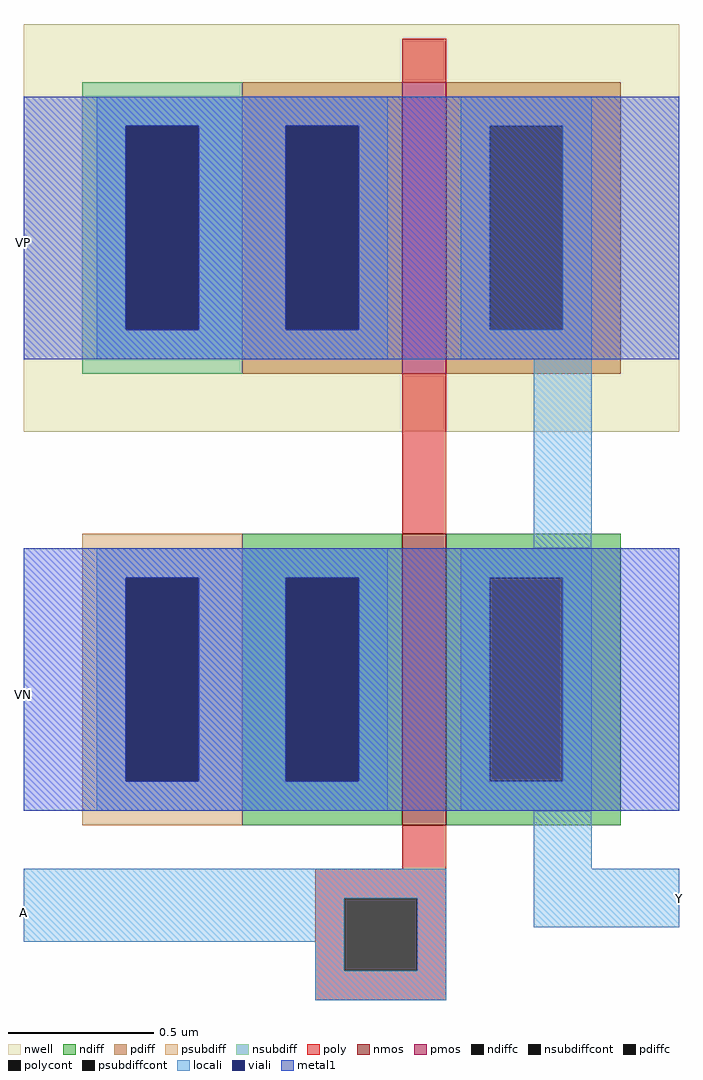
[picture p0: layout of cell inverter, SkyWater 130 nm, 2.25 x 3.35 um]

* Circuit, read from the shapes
.subckt inverter A Y VP VN
XM1 Y A VN VN sky130_fd_pr__nfet_01v8 w=1 l=0.15
XM2 Y A VP VP sky130_fd_pr__pfet_01v8 w=1 l=0.15
.ends

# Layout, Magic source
magic
tech sky130A
<< nwell >>
rect -130 135 95 275
<< nmos >>
rect 0 0 15 100
<< pmos >>
rect 0 155 15 255
<< ndiff >>
rect -55 85 0 100
rect -55 15 -40 85
rect -15 15 0 85
rect -55 0 0 15
rect 15 85 75 100
rect 15 15 30 85
rect 55 15 75 85
rect 15 0 75 15
<< pdiff >>
rect -55 240 0 255
rect -55 170 -40 240
rect -15 170 0 240
rect -55 155 0 170
rect 15 240 75 255
rect 15 170 30 240
rect 55 170 75 240
rect 15 155 75 170
<< ndiffc >>
rect -40 15 -15 85
rect 30 15 55 85
<< pdiffc >>
rect -40 170 -15 240
rect 30 170 55 240
<< psubdiff >>
rect -110 85 -55 100
rect -110 15 -95 85
rect -70 15 -55 85
rect -110 0 -55 15
<< nsubdiff >>
rect -110 240 -55 255
rect -110 170 -95 240
rect -70 170 -55 240
rect -110 155 -55 170
<< psubdiffcont >>
rect -95 15 -70 85
<< nsubdiffcont >>
rect -95 170 -70 240
<< poly >>
rect 0 255 15 270
rect 0 100 15 155
rect 0 -15 15 0
rect -30 -25 15 -15
rect -30 -50 -20 -25
rect 5 -50 15 -25
rect -30 -60 15 -50
<< polycont >>
rect -20 -50 5 -25
<< locali >>
rect -105 240 -5 250
rect -105 170 -95 240
rect -70 170 -40 240
rect -15 170 -5 240
rect -105 160 -5 170
rect 20 240 65 250
rect 20 170 30 240
rect 55 170 65 240
rect 20 160 65 170
rect 45 95 65 160
rect -105 85 -5 95
rect -105 15 -95 85
rect -70 15 -40 85
rect -15 15 -5 85
rect -105 5 -5 15
rect 20 85 65 95
rect 20 15 30 85
rect 55 15 65 85
rect 20 5 65 15
rect 45 -15 65 5
rect -130 -25 15 -15
rect -130 -40 -20 -25
rect -30 -50 -20 -40
rect 5 -50 15 -25
rect 45 -35 95 -15
rect -30 -60 15 -50
<< viali >>
rect -95 170 -70 240
rect -40 170 -15 240
rect -95 15 -70 85
rect -40 15 -15 85
<< metal1 >>
rect -130 240 95 250
rect -130 170 -95 240
rect -70 170 -40 240
rect -15 170 95 240
rect -130 160 95 170
rect -130 85 95 95
rect -130 15 -95 85
rect -70 15 -40 85
rect -15 15 95 85
rect -130 5 95 15
<< labels >>
rlabel metal1 -130 200 -130 200 7 VP
port 3 w
rlabel metal1 -130 45 -130 45 7 VN
port 4 w
rlabel locali -130 -30 -130 -30 7 A
port 1 w
rlabel locali 95 -25 95 -25 3 Y
port 2 e
<< end >>
